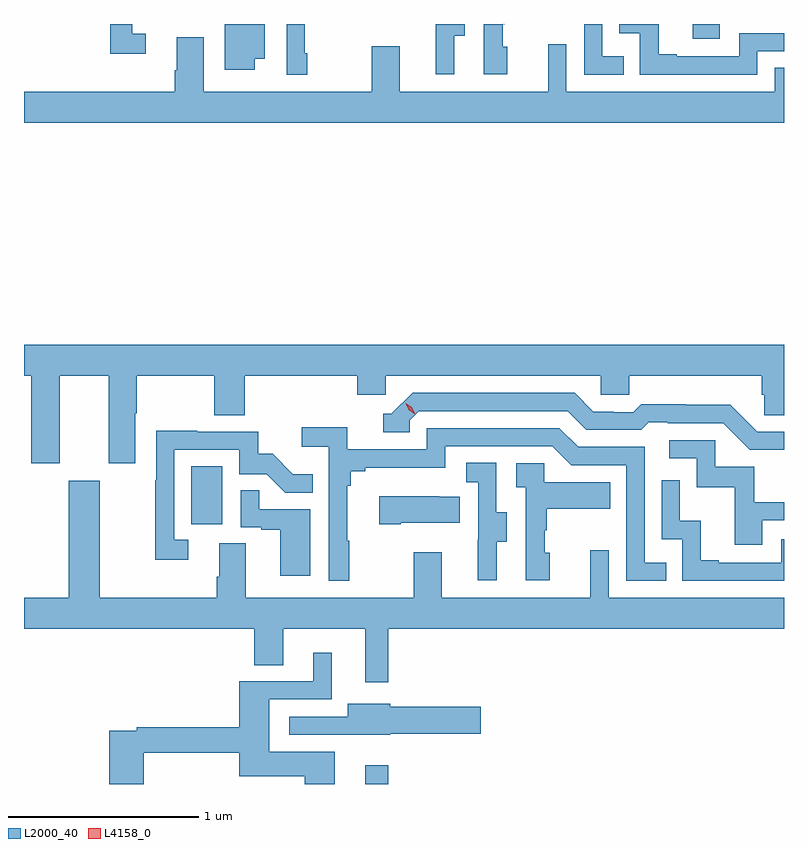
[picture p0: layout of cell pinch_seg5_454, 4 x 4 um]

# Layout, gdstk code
import gdstk
lib = gdstk.Library(unit=1e-6, precision=1e-09)
def R(c, l, rs):  # rectangles x0, y0, x1, y1
    for r in rs: c.add(gdstk.rectangle(r[:2], r[2:], *l))
def P(c, l, *ps):  # polygons
    for p in ps: c.add(gdstk.Polygon(p, *l))
L2000_40 = (2000, 40)
L4158_0 = (4158, 0)

pinch_seg5_454 = lib.new_cell('pinch_seg5_454')
R(pinch_seg5_454, L2000_40, [(937.241,853.28,937.363,853.378), (936.326,854.646,936.49,854.953), (938.965,857.202,939.109,857.28)])
P(pinch_seg5_454, L2000_40, [(937.99,857.16),(937.965,857.16),(937.965,857.279),(937.975,857.279),(937.975,857.28),(937.866,857.28),(937.866,857.016),(937.99,857.016)],
  [(939.306,857.136),(939.446,857.136),(939.446,857.232),(939.21,857.232),(939.21,857.109),(938.881,857.109),(938.881,857.122),(938.786,857.122),(938.786,857.28),(938.58,857.28),(938.58,857.232),(938.688,857.232),(938.688,857.013),(939.306,857.013)],
  [(936.088,857.229),(936.015,857.229),(936.015,857.28),(935.899,857.28),(935.899,857.124),(936.088,857.124)],
  [(936.661,857.096),(936.712,857.096),(936.712,857.28),(936.503,857.28),(936.503,857.04),(936.661,857.04)],
  [(937.711,857.218),(937.765,857.218),(937.765,857.28),(937.614,857.28),(937.614,857.229),(937.613,857.229),(937.613,857.016),(937.711,857.016)],
  [(938.603,857.109),(938.49,857.109),(938.49,857.28),(938.394,857.28),(938.394,857.013),(938.603,857.013)],
  [(936.937,857.125),(936.924,857.125),(936.924,857.28),(936.828,857.28),(936.828,857.013),(936.937,857.013)],
  [(939.446,857.051),(939.396,857.051),(939.396,856.924),(938.301,856.924),(938.301,857.173),(938.204,857.173),(938.204,856.924),(937.423,856.924),(937.423,857.164),(937.276,857.164),(937.276,856.924),(936.391,856.924),(936.391,857.21),(936.251,857.21),(936.251,857.036),(936.239,857.036),(936.239,856.924),(935.446,856.924),(935.446,856.76),(939.446,856.76)],
  [(935.446,855.428),(935.483,855.428),(935.483,854.967),(935.635,854.967),(935.635,855.428),(935.891,855.428),(935.891,854.967),(936.031,854.967),(936.031,855.232),(936.039,855.232),(936.039,855.428),(936.448,855.428),(936.448,855.22),(936.608,855.22),(936.608,855.428),(937.199,855.428),(937.199,855.33),(937.35,855.33),(937.35,855.428),(938.481,855.428),(938.481,855.33),(938.631,855.33),(938.631,855.428),(939.329,855.428),(939.329,855.33),(939.343,855.33),(939.343,855.22),(939.446,855.22),(939.446,855.592),(935.446,855.592)],
  [(939.446,855.135),(939.306,855.135),(939.164,855.277),(938.928,855.277),(938.928,855.28),(938.695,855.28),(938.653,855.237),(938.55,855.237),(938.55,855.24),(938.443,855.24),(938.344,855.339),(937.491,855.339),(937.38,855.228),(937.337,855.228),(937.337,855.132),(937.476,855.132),(937.476,855.195),(937.524,855.243),(938.307,855.243),(938.406,855.144),(938.695,855.144),(938.734,855.183),(938.833,855.183),(938.833,855.18),(939.126,855.18),(939.267,855.039),(939.446,855.039)],
  [(937.159,854.561),(937.147,854.561),(937.147,854.849),(937.166,854.849),(937.166,854.926),(937.243,854.926),(937.243,854.945),(937.662,854.945),(937.662,855.057),(938.226,855.057),(938.325,854.958),(938.616,854.958),(938.616,854.349),(938.825,854.349),(938.825,854.445),(938.712,854.445),(938.712,855.054),(938.362,855.054),(938.263,855.153),(937.566,855.153),(937.566,855.042),(937.148,855.042),(937.148,855.158),(936.909,855.158),(936.909,855.056),(937.05,855.056),(937.05,854.349),(937.159,854.349)],
  [(936.31,854.565),(936.237,854.565),(936.237,855.039),(936.579,855.039),(936.579,854.91),(936.723,854.91),(936.821,854.812),(936.965,854.812),(936.965,854.911),(936.861,854.911),(936.754,855.018),(936.678,855.018),(936.678,855.135),(936.359,855.135),(936.359,855.14),(936.141,855.14),(936.141,854.879),(936.136,854.879),(936.136,854.46),(936.31,854.46)],
  [(939.331,854.667),(939.446,854.667),(939.446,854.763),(939.289,854.763),(939.289,854.949),(939.084,854.949),(939.084,855.09),(938.841,855.09),(938.841,854.994),(938.988,854.994),(938.988,854.841),(939.187,854.841),(939.187,854.538),(939.331,854.538)],
  [(937.933,854.554),(937.987,854.554),(937.987,854.709),(937.932,854.709),(937.932,854.972),(937.773,854.972),(937.773,854.869),(937.836,854.869),(937.836,854.565),(937.835,854.565),(937.835,854.352),(937.933,854.352)],
  [(938.212,854.496),(938.187,854.496),(938.187,854.615),(938.197,854.615),(938.197,854.729),(938.531,854.729),(938.531,854.869),(938.184,854.869),(938.184,854.967),(938.037,854.967),(938.037,854.843),(938.088,854.843),(938.088,854.352),(938.212,854.352)],
  [(939.446,854.568),(939.432,854.568),(939.432,854.445),(939.103,854.445),(939.103,854.458),(939.008,854.458),(939.008,854.666),(938.898,854.666),(938.898,854.878),(938.802,854.878),(938.802,854.568),(938.91,854.568),(938.91,854.349),(939.446,854.349)],
  [(937.363,854.096),(939.446,854.096),(939.446,854.26),(938.523,854.26),(938.523,854.509),(938.426,854.509),(938.426,854.26),(937.645,854.26),(937.645,854.5),(937.498,854.5),(937.498,854.26),(936.613,854.26),(936.613,854.546),(936.473,854.546),(936.473,854.372),(936.461,854.372),(936.461,854.26),(935.845,854.26),(935.845,854.875),(935.681,854.875),(935.681,854.26),(935.446,854.26),(935.446,854.096),(936.659,854.096),(936.659,853.906),(936.811,853.906),(936.811,854.096),(937.241,854.096),(937.241,853.815),(937.363,853.815)],
  [(936.952,854.727),(936.683,854.727),(936.683,854.825),(936.588,854.825),(936.588,854.631),(936.695,854.631),(936.695,854.619),(936.794,854.619),(936.794,854.376),(936.952,854.376)],
  [(937.429,854.654),(937.739,854.654),(937.739,854.791),(937.631,854.791),(937.631,854.794),(937.317,854.794),(937.317,854.647),(937.429,854.647)],
  [(936.077,853.444),(936.578,853.444),(936.578,853.322),(936.923,853.322),(936.923,853.28),(937.081,853.28),(937.081,853.45),(936.736,853.45),(936.736,853.725),(937.066,853.725),(937.066,853.972),(936.968,853.972),(936.968,853.821),(936.578,853.821),(936.578,853.58),(936.04,853.58),(936.04,853.56),(935.894,853.56),(935.894,853.28),(936.077,853.28)],
  [(937.374,853.544),(937.849,853.544),(937.849,853.686),(937.374,853.686),(937.374,853.702),(937.151,853.702),(937.151,853.635),(936.843,853.635),(936.843,853.539),(937.155,853.539),(937.155,853.538),(937.374,853.538)])
P(pinch_seg5_454, L4158_0, [(937.501,855.23),(937.471,855.25),(937.455,855.283),(937.455,855.283),(937.455,855.283),(937.486,855.263),(937.502,855.23),(937.502,855.23)])

lib.write_gds('pinch_seg5_454.gds')
